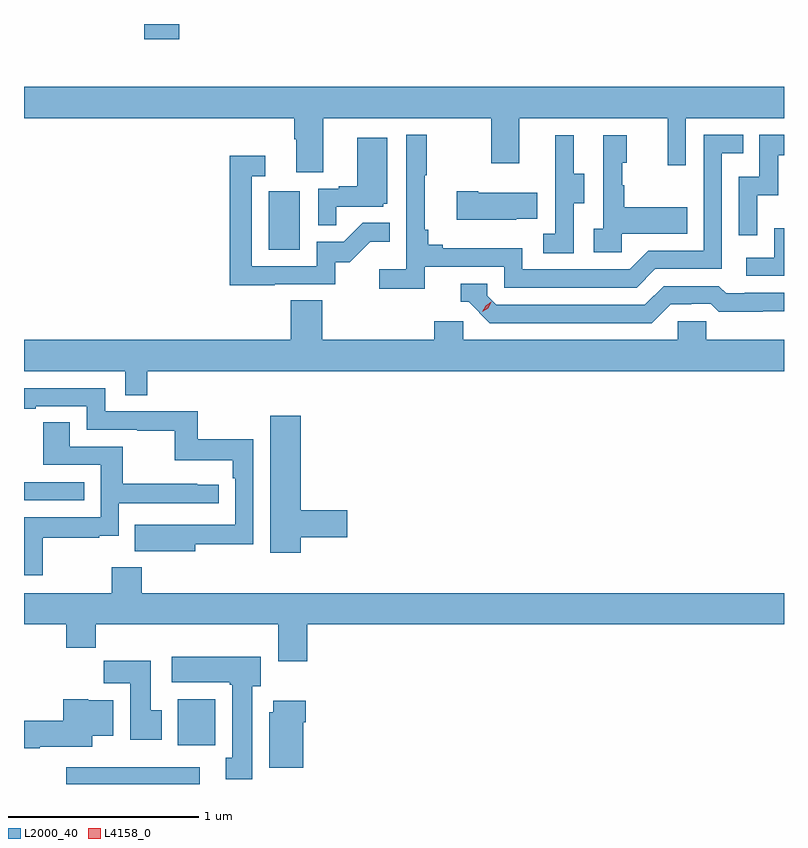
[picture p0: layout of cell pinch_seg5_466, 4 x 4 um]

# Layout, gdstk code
import gdstk
lib = gdstk.Library(unit=1e-6, precision=1e-09)
def R(c, l, rs):  # rectangles x0, y0, x1, y1
    for r in rs: c.add(gdstk.rectangle(r[:2], r[2:], *l))
def P(c, l, *ps):  # polygons
    for p in ps: c.add(gdstk.Polygon(p, *l))
L2000_40 = (2000, 40)
L4158_0 = (4158, 0)

pinch_seg5_466 = lib.new_cell('pinch_seg5_466')
R(pinch_seg5_466, L2000_40, [(889.307,861.247,890.011,861.334), (889.895,861.452,890.092,861.694), (889.085,862.74,889.403,862.836), (890.372,864.06,890.536,864.367), (889.718,865.167,889.901,865.247)])
P(pinch_seg5_466, L2000_40, [(890.659,864.752),(891.544,864.752),(891.544,864.513),(891.691,864.513),(891.691,864.752),(892.472,864.752),(892.472,864.504),(892.569,864.504),(892.569,864.752),(893.085,864.752),(893.085,864.916),(889.085,864.916),(889.085,864.752),(890.507,864.752),(890.507,864.64),(890.519,864.64),(890.519,864.466),(890.659,864.466)],
  [(891.194,863.97),(891.612,863.97),(891.612,863.859),(892.309,863.859),(892.408,863.958),(892.758,863.958),(892.758,864.567),(892.871,864.567),(892.871,864.663),(892.662,864.663),(892.662,864.054),(892.371,864.054),(892.272,863.955),(891.708,863.955),(891.708,864.067),(891.289,864.067),(891.289,864.086),(891.212,864.086),(891.212,864.163),(891.193,864.163),(891.193,864.451),(891.205,864.451),(891.205,864.664),(891.096,864.664),(891.096,863.956),(890.955,863.956),(890.955,863.854),(891.194,863.854)],
  [(892.944,864.347),(893.054,864.347),(893.054,864.555),(893.085,864.555),(893.085,864.663),(892.956,864.663),(892.956,864.444),(892.848,864.444),(892.848,864.135),(892.944,864.135)],
  [(892.23,864.143),(892.577,864.143),(892.577,864.283),(892.243,864.283),(892.243,864.398),(892.233,864.398),(892.233,864.516),(892.258,864.516),(892.258,864.661),(892.134,864.661),(892.134,864.17),(892.083,864.17),(892.083,864.045),(892.23,864.045)],
  [(891.978,864.304),(892.033,864.304),(892.033,864.459),(891.979,864.459),(891.979,864.661),(891.881,864.661),(891.881,864.447),(891.882,864.447),(891.882,864.143),(891.819,864.143),(891.819,864.04),(891.978,864.04)],
  [(890.729,864.285),(890.976,864.285),(890.976,864.3),(890.998,864.3),(890.998,864.649),(890.84,864.649),(890.84,864.394),(890.741,864.394),(890.741,864.381),(890.634,864.381),(890.634,864.187),(890.729,864.187)],
  [(890.405,863.877),(890.724,863.877),(890.724,863.994),(890.8,863.994),(890.907,864.101),(891.011,864.101),(891.011,864.2),(890.867,864.2),(890.769,864.102),(890.625,864.102),(890.625,863.973),(890.283,863.973),(890.283,864.447),(890.356,864.447),(890.356,864.553),(890.167,864.553),(890.167,863.872),(890.405,863.872)],
  [(891.677,864.221),(891.785,864.221),(891.785,864.358),(891.475,864.358),(891.475,864.366),(891.363,864.366),(891.363,864.218),(891.677,864.218)],
  [(893.085,864.172),(893.034,864.172),(893.034,864.018),(892.887,864.018),(892.887,863.922),(893.085,863.922)],
  [(892.489,863.772),(892.596,863.772),(892.596,863.775),(892.699,863.775),(892.741,863.733),(892.974,863.733),(892.974,863.735),(893.085,863.735),(893.085,863.832),(892.879,863.832),(892.879,863.829),(892.78,863.829),(892.741,863.868),(892.452,863.868),(892.353,863.769),(891.57,863.769),(891.522,863.817),(891.522,863.88),(891.383,863.88),(891.383,863.784),(891.426,863.784),(891.537,863.673),(892.39,863.673)],
  [(889.733,863.42),(893.085,863.42),(893.085,863.584),(892.677,863.584),(892.677,863.682),(892.527,863.682),(892.527,863.584),(891.396,863.584),(891.396,863.682),(891.245,863.682),(891.245,863.584),(890.654,863.584),(890.654,863.792),(890.489,863.792),(890.489,863.584),(889.085,863.584),(889.085,863.42),(889.617,863.42),(889.617,863.293),(889.733,863.293)],
  [(889.987,862.51),(890.292,862.51),(890.292,863.062),(889.999,863.062),(889.999,863.208),(889.512,863.208),(889.512,863.331),(889.085,863.331),(889.085,863.223),(889.147,863.223),(889.147,863.235),(889.416,863.235),(889.416,863.112),(889.681,863.112),(889.681,863.107),(889.878,863.107),(889.878,862.952),(890.183,862.952),(890.183,862.856),(890.196,862.856),(890.196,862.611),(889.883,862.611),(889.883,862.612),(889.669,862.612),(889.669,862.472),(889.987,862.472)],
  [(890.542,862.546),(890.785,862.546),(890.785,862.688),(890.542,862.688),(890.542,863.185),(890.381,863.185),(890.381,862.464),(890.542,862.464)],
  [(889.183,862.542),(889.481,862.542),(889.481,862.553),(889.584,862.553),(889.584,862.725),(890.11,862.725),(890.11,862.821),(889.997,862.821),(889.997,862.826),(889.604,862.826),(889.604,863.022),(889.327,863.022),(889.327,863.15),(889.187,863.15),(889.187,862.926),(889.488,862.926),(889.488,862.65),(889.085,862.65),(889.085,862.347),(889.183,862.347)],
  [(890.576,862.088),(893.085,862.088),(893.085,862.252),(889.706,862.252),(889.706,862.387),(889.546,862.387),(889.546,862.252),(889.085,862.252),(889.085,862.088),(889.307,862.088),(889.307,861.964),(889.463,861.964),(889.463,862.088),(890.423,862.088),(890.423,861.894),(890.576,861.894)],
  [(890.287,861.762),(890.332,861.762),(890.332,861.916),(889.863,861.916),(889.863,861.782),(890.167,861.782),(890.167,861.769),(890.18,861.769),(890.18,861.386),(890.147,861.386),(890.147,861.273),(890.287,861.273)],
  [(889.81,861.636),(889.753,861.636),(889.753,861.895),(889.504,861.895),(889.504,861.776),(889.643,861.776),(889.643,861.48),(889.81,861.48)],
  [(889.168,861.443),(889.444,861.443),(889.444,861.5),(889.555,861.5),(889.555,861.688),(889.422,861.688),(889.422,861.694),(889.292,861.694),(889.292,861.58),(889.085,861.58),(889.085,861.436),(889.168,861.436)],
  [(890.554,861.572),(890.567,861.572),(890.567,861.685),(890.396,861.685),(890.396,861.624),(890.375,861.624),(890.375,861.332),(890.554,861.332)])
P(pinch_seg5_466, L4158_0, [(891.498,863.732),(891.498,863.732),(891.514,863.764),(891.545,863.784),(891.545,863.784),(891.545,863.784),(891.529,863.751),(891.498,863.732)])

lib.write_gds('pinch_seg5_466.gds')
